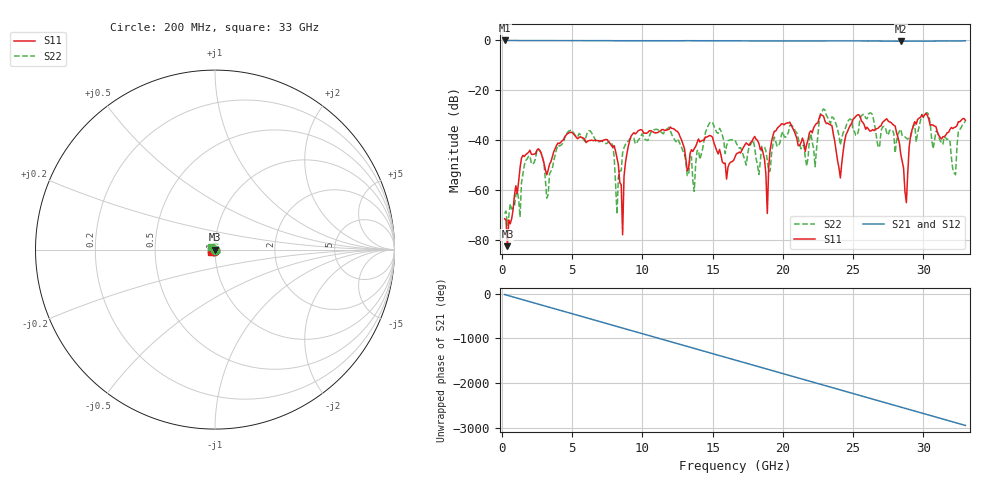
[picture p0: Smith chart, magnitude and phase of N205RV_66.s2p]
# GHZ S RI R 50
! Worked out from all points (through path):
!   329 points, 200 MHz to 33 GHz, reference 50 ohm
!   highest |S21| = -0.02 dB at 200 MHz (marker M1); lowest = -0.3 dB at 28.4 GHz (marker M2)
!   group delay of S21, straight-line fit = 248 ps
!   lowest |S11| = -82.3 dB at 400 MHz (marker M3), VSWR 1.00, Z = 50 + j0.00533 ohm
!   |S11| at or under -10 dB: start of sweep to end of sweep
!   |S22| runs from -73.9 to -27.4 dB; largest |S21 - S12| = 0.0019
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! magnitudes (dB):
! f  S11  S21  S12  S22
! 200 MHz  -71.4  0.0  0.0  -69.2
! 400 MHz  -82.3  0.0  0.0  -73.9
! 1.5 GHz  -46.0  -0.1  -0.1  -53.4
! 5.7 GHz  -38.9  -0.1  -0.1  -38.6
! 8 GHz  -42.1  -0.1  -0.1  -46.7
! 8.2 GHz  -47.0  -0.1  -0.1  -69.4
! 8.6 GHz  -77.7  -0.1  -0.1  -45.0
! 9.2 GHz  -38.3  -0.2  -0.2  -39.1
! 11.2 GHz  -36.5  -0.2  -0.2  -36.1
! 13.7 GHz  -43.3  -0.1  -0.1  -60.4
! 14.8 GHz  -38.0  -0.1  -0.1  -33.0
! 16.6 GHz  -46.6  -0.2  -0.2  -39.9
! 18.5 GHz  -42.8  -0.2  -0.2  -42.3
! 18.9 GHz  -69.2  -0.2  -0.2  -47.9
! 19.4 GHz  -36.3  -0.2  -0.2  -38.7
! 22.1 GHz  -36.9  -0.2  -0.2  -40.8
! 27.6 GHz  -32.6  -0.3  -0.3  -36.0
! 28.4 GHz  -45.5  -0.3  -0.3  -35.5
! 28.8 GHz  -64.9  -0.3  -0.3  -39.2
! 29.4 GHz  -32.5  -0.3  -0.3  -33.8
! 32.3 GHz  -34.7  -0.2  -0.2  -53.7
! 33 GHz  -32.0  -0.2  -0.2  -32.3
